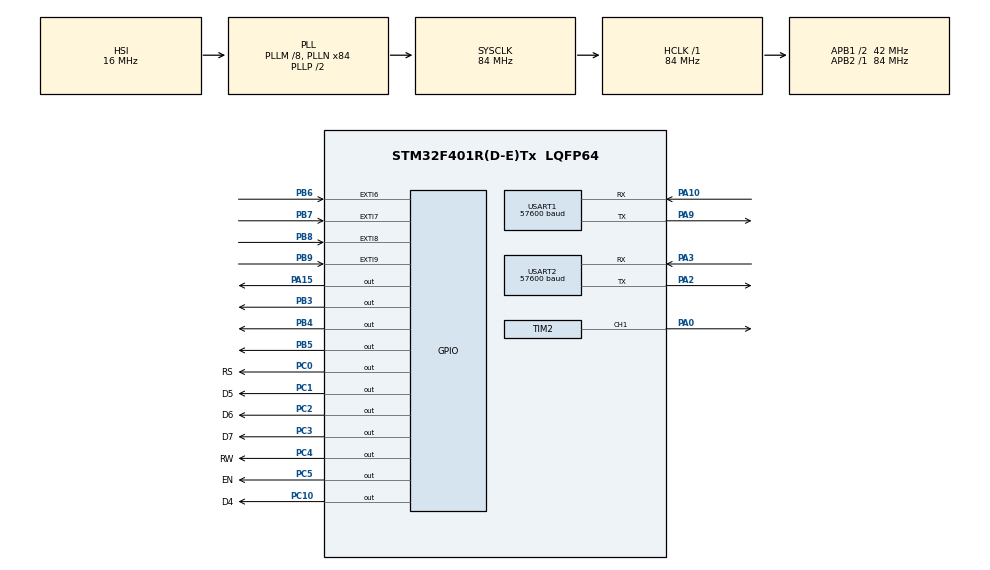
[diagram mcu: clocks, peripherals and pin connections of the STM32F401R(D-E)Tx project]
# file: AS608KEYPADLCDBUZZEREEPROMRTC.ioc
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Mcu.Family=STM32F4
Mcu.Name=STM32F401R(D-E)Tx
Mcu.Package=LQFP64
NVIC.PriorityGroup=NVIC_PRIORITYGROUP_4
PA0-WKUP.Signal=S_TIM2_CH1_ETR
PA10.Mode=Asynchronous
PA10.Signal=USART1_RX
PA15.Signal=GPIO_Output
PA2.Mode=Asynchronous
PA2.Signal=USART2_TX
PA3.Mode=Asynchronous
PA3.Signal=USART2_RX
PA9.Mode=Asynchronous
PA9.Signal=USART1_TX
PB3.Signal=GPIO_Output
PB4.Signal=GPIO_Output
PB5.Signal=GPIO_Output
PB6.Signal=GPXTI6
PB7.Signal=GPXTI7
PB8.Signal=GPXTI8
PB9.Signal=GPXTI9
PC0.GPIO_Label=RS
PC0.Signal=GPIO_Output
PC1.GPIO_Label=D5
PC1.Signal=GPIO_Output
PC10.GPIO_Label=D4
PC10.Signal=GPIO_Output
PC14-OSC32_IN.Mode=LSE-External-Oscillator
PC14-OSC32_IN.Signal=RCC_OSC32_IN
PC15-OSC32_OUT.Mode=LSE-External-Oscillator
PC15-OSC32_OUT.Signal=RCC_OSC32_OUT
PC2.GPIO_Label=D6
PC2.Signal=GPIO_Output
PC3.GPIO_Label=D7
PC3.Signal=GPIO_Output
PC4.GPIO_Label=RW
PC4.Signal=GPIO_Output
PC5.GPIO_Label=EN
PC5.Signal=GPIO_Output
PH0\ -\ OSC_IN.Mode=HSE-External-Oscillator
PH0\ -\ OSC_IN.Signal=RCC_OSC_IN
PH1\ -\ OSC_OUT.Mode=HSE-External-Oscillator
PH1\ -\ OSC_OUT.Signal=RCC_OSC_OUT
ProjectManager.HeapSize=0x200
ProjectManager.StackSize=0x400
ProjectManager.TargetToolchain=STM32CubeIDE
RCC.48MHZClocksFreq_Value=42000000
RCC.AHBFreq_Value=84000000
RCC.APB1CLKDivider=RCC_HCLK_DIV2
RCC.APB1Freq_Value=42000000
RCC.APB1TimFreq_Value=84000000
RCC.APB2Freq_Value=84000000
RCC.APB2TimFreq_Value=84000000
RCC.CortexFreq_Value=84000000
RCC.HCLKFreq_Value=84000000
RCC.HSE_VALUE=25000000
RCC.HSI_VALUE=16000000
RCC.PLLM=8
RCC.PLLN=84
RCC.SYSCLKFreq_VALUE=84000000
RCC.SYSCLKSource=RCC_SYSCLKSOURCE_PLLCLK
RCC.VCOOutputFreq_Value=168000000
RTC.Date=12
RTC.Hours=12
RTC.Minutes=50
RTC.Month=RTC_MONTH_SEPTEMBER
RTC.Seconds=45
RTC.WeekDay=RTC_WEEKDAY_TUESDAY
RTC.Year=23
SH.S_TIM2_CH1_ETR.0=TIM2_CH1,PWM Generation1 CH1
TIM2.Channel-PWM\ Generation1\ CH1=TIM_CHANNEL_1
USART1.BaudRate=57600
USART1.VirtualMode=VM_ASYNC
USART2.BaudRate=57600
USART2.VirtualMode=VM_ASYNC
VP_RTC_VS_RTC_Activate.Mode=RTC_Enabled
VP_RTC_VS_RTC_Calendar.Mode=RTC_Calendar
VP_TIM2_VS_ClockSourceINT.Mode=Internal
VP_TIM3_VS_ClockSourceINT.Mode=Internal
board=custom

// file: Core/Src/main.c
/* USER CODE BEGIN Header */
/**
 ******************************************************************************
 * @file           : main.c
 * @brief          : Main program body
 ******************************************************************************
 * @attention
 *
 * Copyright (c) 2023 STMicroelectronics.
 * All rights reserved.
 *
 * This software is licensed under terms that can be found in the LICENSE file
 * in the root directory of this software component.
 * If no LICENSE file comes with this software, it is provided AS-IS.
 *
 ******************************************************************************
 */
/* USER CODE END Header */
#include "main.h"

/* USER CODE BEGIN Includes */
#include"as608.h"
#include<stdbool.h>
#include"string.h"
#include"stdio.h"
#include "retarget.h"
#include<stdlib.h>
#include "lcd1602.h"
#include "stm32f4xx_hal.h"
#include "stm32f4xx_it.h"
#include <stdio.h>
#include "delay.h"
#include "uart.h"
#include "eeprom.h"
#include "stm32f4xx.h"
#include <stdint.h>

#define RXBUFFER_SIZE	50
#define MAX_PEOPLE 256
#define MAX_NAME_LENGTH 256
#define MAX_NUM_TEMPLATES 254
#define timer htim3
#define MAX_RETRIES 3 // Maximum number of retries
#define FLASH_SECTOR_TO_ERASE FLASH_SECTOR_4
#define TIME_DELAY_BETWEEN_ARRIVALS_MS 60000
#define EEP_ADDR 0x08010000
#define EEP_SIZE 0x0400

extern TIM_HandleTypeDef timer;
void delay (uint16_t us)
{
	__HAL_TIM_SET_COUNTER(&timer, 0);
	while (__HAL_TIM_GET_COUNTER(&timer) < us);
}

extern uint8_t Tone_Status;
/* USER CODE END Includes */

/* USER CODE BEGIN PD */
//int stored_fingerprint[5][100];
//int fingerprint_data;
uint16_t id=0 ;
uint32_t KeyPressed = 1;
uint8_t eepadd=0;

bool removeFingerPlaceFinger = false;
bool fingerprintStored = false;
uint8_t fingerprintStatus = FINGERPRINT_NOFINGER;
bool fingerprintOk = false;
bool fingerprintDeleted = false;
/* USER CODE END PD */

/* USER CODE BEGIN PM */
uint32_t temp=0;
typedef struct
{
	uint8_t emp_id;
} Emp_info;

Emp_info employee[10000];
char enrollment_names[][20]={{},{"VISHVESH"},{"Indu"},{"BINDHU"},{"SHUSHMA"},{"DHANA"},{" NARESH"},{"RAVI"},{"RAJESH"},{"SNEHA"},{"LINA"},{"VINAY"},{"NAVEEN"},{"PRADY"},{"NARESH.S"},{"JYOTHI"}};
char ids[3]; 					// Create an array to store 3 characters

EEPROMTypedefStatus eeprom_write(uint16_t add, uint32_t pData);
EEPROMTypedefStatus eeprom_read(uint16_t add, uint32_t *pData);
void set_time(void);
void get_time(void);
void display_time(void);
/* USER CODE END PM */

RTC_HandleTypeDef hrtc;
RTC_TimeTypeDef sTime;
RTC_DateTypeDef sDate;
RTC_TimeTypeDef gTime;
RTC_TimeTypeDef arrivalTime;
RTC_DateTypeDef arrivalDate;

TIM_HandleTypeDef htim2;
TIM_HandleTypeDef htim3;

UART_HandleTypeDef huart1;
UART_HandleTypeDef huart2;

/* USER CODE BEGIN PV */
GPIO_InitTypeDef GPIO_InitStructPrivate = {0};
uint32_t previousMillis = 0;
uint32_t currentMillis = 0;
uint8_t keyPressed = 0;

char C_time[12];
char date[20];
/* USER CODE END PV */

void SystemClock_Config(void);
static void MX_GPIO_Init(void);
static void MX_RTC_Init(void);
static void MX_TIM2_Init(void);
static void MX_TIM3_Init(void);
static void MX_USART1_UART_Init(void);
static void MX_USART2_UART_Init(void);
void eraseFlashSector(uint32_t sector);

/* USER CODE BEGIN 0 */
int row=0;
int col=0;
typedef struct
{
	uint16_t start_code;                    //< "Wakeup" code for packet detection
	uint8_t address[4];                    //< 32-bit Fingerprint sensor address
	uint8_t type;                         //< Type of packet
	uint16_t length;                     //< Length of packet
	uint8_t data[64];                   //< The raw buffer for packet payload
}as608Packet_t;

static as608Packet_t packet;
static uint8_t rxPacketBuffer[RXBUFFER_SIZE];
uint8_t FindFingerprint(void);
void EnrollFinger(uint8_t id);
uint8_t AS608_TEMPLATECOUNT(void);
uint8_t AS608_StoreModel(uint16_t id);
void InputFinger(void);
void DeleteFinger(void);
uint8_t MatchFinger(void);
void playTone(uint16_t frequency,uint16_t ms,uint8_t dc);
void stopTone(void);

uint16_t matchingPageID;
uint16_t f_status;
uint8_t Rxbuff = 0;
uint8_t RxbuffCntr = 0;
uint8_t txCplt = SET;
uint8_t RxCplt = 0;
uint8_t keypressed =  0;

extern uint16_t i;
extern uint16_t e_size;
void set_time(void)
{
	/** Initialize RTC and set the Time and Date
	 */
	sTime.Hours = 0x2;
	sTime.Minutes = 0x3;
	sTime.Seconds = 0x4;
	sTime.DayLightSaving = RTC_DAYLIGHTSAVING_NONE;
	sTime.StoreOperation = RTC_STOREOPERATION_RESET;
	if (HAL_RTC_SetTime(&hrtc, &sTime, RTC_FORMAT_BCD) != HAL_OK)
	{
		Error_Handler();
	}
	sDate.WeekDay = RTC_WEEKDAY_FRIDAY;
	sDate.Month = RTC_MONTH_MAY;
	sDate.Date = 0x6;
	sDate.Year = 0x23;

	if (HAL_RTC_SetDate(&hrtc, &sDate, RTC_FORMAT_BCD) != HAL_OK)
	{
		Error_Handler();
	}
	HAL_RTCEx_BKUPWrite(&hrtc, RTC_BKP_DR1, 0x32F2);
}

void get_time(void)
{
	RTC_DateTypeDef gDate;
	HAL_RTC_GetTime(&hrtc, &gTime, RTC_FORMAT_BIN);
	HAL_RTC_GetDate(&hrtc, &gDate, RTC_FORMAT_BIN);
	sprintf((char *)C_time, "%02d:%02d:%02d\n", gTime.Hours, gTime.Minutes, gTime.Seconds);
	sprintf((char *)date, "%02d-%02d-%2d\n", gDate.Date, gDate.Month, 2000 + gDate.Year);

	// Copy the current time to the arrivalTime variable

	arrivalTime.Hours = gTime.Hours;
	arrivalTime.Minutes = gTime.Minutes;
	arrivalTime.Seconds= gTime.Seconds;
	arrivalDate.Date=gDate.Date;
	arrivalDate.Month=gDate.Month;
	arrivalDate.Year=gDate.Year;
}

void display_time (void)
{
	HAL_UART_Transmit(&huart2, (uint8_t*)(C_time) ,12 , 100);
	HAL_UART_Transmit(&huart2, (uint8_t*)date , 20 , 100);
}
/* USER CODE END 0 */

int main(void)
{

	/* MCU Configuration--------------------------------------------------------*/

	/* Reset of all peripherals, Initializes the Flash interface and the Systick. */

	HAL_Init();

	/* Configure the system clock */
	SystemClock_Config();

	/* Initialize all configured peripherals */
	MX_GPIO_Init();
	MX_RTC_Init();
	MX_TIM2_Init();
	MX_TIM3_Init();
	MX_USART1_UART_Init();
	MX_USART2_UART_Init();
	/* USER CODE BEGIN 2 */
	HAL_TIM_Base_Start(&htim3);
	lcd_init ();
	lcd_clear();
	RetargetInit(&huart2);
	HAL_UART_Receive_IT(&huart1, (uint8_t *)&Rxbuff, sizeof(Rxbuff));
	HAL_UART_Receive_IT(&huart2, (uint8_t *)&Rxbuff, sizeof(Rxbuff));
	HAL_GPIO_WritePin(GPIOA, GPIO_PIN_15, 1);
	HAL_GPIO_WritePin(GPIOB, GPIO_PIN_3, 1);
	HAL_GPIO_WritePin(GPIOB, GPIO_PIN_4, 1);
	HAL_GPIO_WritePin(GPIOB, GPIO_PIN_5, 1);

	set_time();
	eeprom_init(EEP_ADDR,EEP_SIZE);

	get_time();
	display_time();

	/* USER CODE END 2 */
	//     eraseFlashSector(FLASH_SECTOR_TO_ERASE);  //erases a specified Flash memory sector.
	/* Infinite loop */
	/* USER CODE BEGIN WHILE */
	printf("\nchoose\nA.Enroll\nB.Find\nC.Delete\nD.DeleteAll\n");
	/* USER CODE END WHILE */

	/* USER CODE BEGIN 3 */
	lcd_init ();
	lcd_clear();
	HAL_Delay(1500);
	lcd_put_cur(0,0);
	/* USER CODE END 3 */
	while (1)
	{

		lcd_send_string("AenBfndCdelDdela");										//print the function
		lcd_send_cmd(0x02);															//to place the cursor at starting
		HAL_Delay(1500);
		if(keyPressed == 65 )
		{
			keyPressed = 0;
			MatchFinger();
		}
		else if(keyPressed == 66)
		{
			keyPressed = 0;
			unsigned int employee_ID =	FindFingerprint();

			get_time();                                    // Get the current time and date using the RTC peripheral and store it in arrivalTime and arrivalDate variables.
			eeprom_write(eepadd, employee_ID);
			//eeprom_write(eepadd, employee->emp_id); // Write the employee ID to EEPROM at the address pointed by eepadd.
			eeprom_write(eepadd+1, arrivalTime.Hours);     // Write the hours of arrivalTime to EEPROM at the next address.
			eeprom_write(eepadd+2, arrivalTime.Minutes);   // Write the minutes of arrivalTime to EEPROM at the next address.
			eeprom_write(eepadd+3, arrivalTime.Seconds);   // Write the seconds of arrivalTime to EEPROM at the next address.
			eeprom_write(eepadd+4, arrivalDate.Date);      // Write the date of arrivalDate to EEPROM at the next address.
			eeprom_write(eepadd+5, arrivalDate.Month);     // Write the month of arrivalDate to EEPROM at the next address.
			eeprom_write(eepadd+6, arrivalDate.Year);      // Write the year of arrivalDate to EEPROM at the next address.
			eepadd+=7;                                     // Move the EEPROM address pointer to the next set of memory locations for the next employee.
			KeyPressed=0;                                  // Reset the KeyPressed flag to indicate that the key press has been processed.
		}
		else if(keyPressed == 67 )
		{
			keyPressed = 0;
			DeleteFinger();
		}
		else if (keyPressed == 68){
			keyPressed = 0;
			AS608_EmptyDatabase();
			lcd_send_string("Allfingerdeleted");
			printf("ALL DELETED");
			playTone(800,1000,20);
			stopTone();
		}

	}
}

void SystemClock_Config(void)
{
	RCC_OscInitTypeDef RCC_OscInitStruct = {0};
	RCC_ClkInitTypeDef RCC_ClkInitStruct = {0};

	/** Configure the main internal regulator output voltage
	 */
	__HAL_RCC_PWR_CLK_ENABLE();
	__HAL_PWR_VOLTAGESCALING_CONFIG(PWR_REGULATOR_VOLTAGE_SCALE2);

	/** Initializes the RCC Oscillators according to the specified parameters
	 * in the RCC_OscInitTypeDef structure.
	 */
	RCC_OscInitStruct.OscillatorType = RCC_OSCILLATORTYPE_HSI|RCC_OSCILLATORTYPE_LSI;
	RCC_OscInitStruct.HSIState = RCC_HSI_ON;
	RCC_OscInitStruct.HSICalibrationValue = RCC_HSICALIBRATION_DEFAULT;
	RCC_OscInitStruct.LSIState = RCC_LSI_ON;
	RCC_OscInitStruct.PLL.PLLState = RCC_PLL_ON;
	RCC_OscInitStruct.PLL.PLLSource = RCC_PLLSOURCE_HSI;
	RCC_OscInitStruct.PLL.PLLM = 8;
	RCC_OscInitStruct.PLL.PLLN = 84;
	RCC_OscInitStruct.PLL.PLLP = RCC_PLLP_DIV2;
	RCC_OscInitStruct.PLL.PLLQ = 4;
	if (HAL_RCC_OscConfig(&RCC_OscInitStruct) != HAL_OK)
	{
		Error_Handler();
	}

	/** Initializes the CPU, AHB and APB buses clocks
	 */
	RCC_ClkInitStruct.ClockType = RCC_CLOCKTYPE_HCLK|RCC_CLOCKTYPE_SYSCLK
			|RCC_CLOCKTYPE_PCLK1|RCC_CLOCKTYPE_PCLK2;
	RCC_ClkInitStruct.SYSCLKSource = RCC_SYSCLKSOURCE_PLLCLK;
	RCC_ClkInitStruct.AHBCLKDivider = RCC_SYSCLK_DIV1;
	RCC_ClkInitStruct.APB1CLKDivider = RCC_HCLK_DIV2;
	RCC_ClkInitStruct.APB2CLKDivider = RCC_HCLK_DIV1;

	if (HAL_RCC_ClockConfig(&RCC_ClkInitStruct, FLASH_LATENCY_2) != HAL_OK)
	{
		Error_Handler();
	}
}

static void MX_RTC_Init(void)
{

	RTC_TimeTypeDef sTime = {0};
	RTC_DateTypeDef sDate = {0};

	/** Initialize RTC Only
	 */
	hrtc.Instance = RTC;
	hrtc.Init.HourFormat = RTC_HOURFORMAT_24;
	hrtc.Init.AsynchPrediv = 127;
	hrtc.Init.SynchPrediv = 255;
	hrtc.Init.OutPut = RTC_OUTPUT_DISABLE;
	hrtc.Init.OutPutPolarity = RTC_OUTPUT_POLARITY_HIGH;
	hrtc.Init.OutPutType = RTC_OUTPUT_TYPE_OPENDRAIN;
	if (HAL_RTC_Init(&hrtc) != HAL_OK)
	{
		Error_Handler();
	}

	/** Initialize RTC and set the Time and Date
	 */
	sTime.Hours = 0x12;
	sTime.Minutes = 0x50;
	sTime.Seconds = 0x45;
	sTime.DayLightSaving = RTC_DAYLIGHTSAVING_NONE;
	sTime.StoreOperation = RTC_STOREOPERATION_RESET;
	if (HAL_RTC_SetTime(&hrtc, &sTime, RTC_FORMAT_BCD) != HAL_OK)
	{
		Error_Handler();
	}
	sDate.WeekDay = RTC_WEEKDAY_TUESDAY;
	sDate.Month = RTC_MONTH_SEPTEMBER;
	sDate.Date = 0x12;
	sDate.Year = 0x23;

	if (HAL_RTC_SetDate(&hrtc, &sDate, RTC_FORMAT_BCD) != HAL_OK)
	{
		Error_Handler();
	}

}

static void MX_TIM2_Init(void)
{

	TIM_ClockConfigTypeDef sClockSourceConfig = {0};
	TIM_MasterConfigTypeDef sMasterConfig = {0};
	TIM_OC_InitTypeDef sConfigOC = {0};

	htim2.Instance = TIM2;
	htim2.Init.Prescaler = 0;
	htim2.Init.CounterMode = TIM_COUNTERMODE_UP;
	htim2.Init.Period = 4294967295;
	htim2.Init.ClockDivision = TIM_CLOCKDIVISION_DIV1;
	htim2.Init.AutoReloadPreload = TIM_AUTORELOAD_PRELOAD_DISABLE;
	if (HAL_TIM_Base_Init(&htim2) != HAL_OK)
	{
		Error_Handler();
	}
	sClockSourceConfig.ClockSource = TIM_CLOCKSOURCE_INTERNAL;
	if (HAL_TIM_ConfigClockSource(&htim2, &sClockSourceConfig) != HAL_OK)
	{
		Error_Handler();
	}
	if (HAL_TIM_PWM_Init(&htim2) != HAL_OK)
	{
		Error_Handler();
	}
	sMasterConfig.MasterOutputTrigger = TIM_TRGO_RESET;
	sMasterConfig.MasterSlaveMode = TIM_MASTERSLAVEMODE_DISABLE;
	if (HAL_TIMEx_MasterConfigSynchronization(&htim2, &sMasterConfig) != HAL_OK)
	{
		Error_Handler();
	}
	sConfigOC.OCMode = TIM_OCMODE_PWM1;
	sConfigOC.Pulse = 0;
	sConfigOC.OCPolarity = TIM_OCPOLARITY_HIGH;
	sConfigOC.OCFastMode = TIM_OCFAST_DISABLE;
	if (HAL_TIM_PWM_ConfigChannel(&htim2, &sConfigOC, TIM_CHANNEL_1) != HAL_OK)
	{
		Error_Handler();
	}
	HAL_TIM_MspPostInit(&htim2);

}

static void MX_TIM3_Init(void)
{

	TIM_ClockConfigTypeDef sClockSourceConfig = {0};
	TIM_MasterConfigTypeDef sMasterConfig = {0};

	htim3.Instance = TIM3;
	htim3.Init.Prescaler = 72-1;
	htim3.Init.CounterMode = TIM_COUNTERMODE_UP;
	htim3.Init.Period = 0xffff-1;
	htim3.Init.ClockDivision = TIM_CLOCKDIVISION_DIV1;
	htim3.Init.RepetitionCounter = 0;
	htim3.Init.AutoReloadPreload = TIM_AUTORELOAD_PRELOAD_DISABLE;
	if (HAL_TIM_Base_Init(&htim3) != HAL_OK)
	{
		Error_Handler();
	}
	sClockSourceConfig.ClockSource = TIM_CLOCKSOURCE_INTERNAL;
	if (HAL_TIM_ConfigClockSource(&htim3, &sClockSourceConfig) != HAL_OK)
	{
		Error_Handler();
	}
	sMasterConfig.MasterOutputTrigger = TIM_TRGO_RESET;
	sMasterConfig.MasterSlaveMode = TIM_MASTERSLAVEMODE_DISABLE;
	if (HAL_TIMEx_MasterConfigSynchronization(&htim3, &sMasterConfig) != HAL_OK)
	{
		Error_Handler();
	}

}

static void MX_USART1_UART_Init(void)
{

	huart1.Instance = USART1;
	huart1.Init.BaudRate = 57600;
	huart1.Init.WordLength = UART_WORDLENGTH_8B;
	huart1.Init.StopBits = UART_STOPBITS_1;
	huart1.Init.Parity = UART_PARITY_NONE;
	huart1.Init.Mode = UART_MODE_TX_RX;
	huart1.Init.HwFlowCtl = UART_HWCONTROL_NONE;
	huart1.Init.OverSampling = UART_OVERSAMPLING_16;
	if (HAL_UART_Init(&huart1) != HAL_OK)
	{
		Error_Handler();
	}

}

static void MX_USART2_UART_Init(void)
{

	huart2.Instance = USART2;
	huart2.Init.BaudRate = 57600;
	huart2.Init.WordLength = UART_WORDLENGTH_8B;
	huart2.Init.StopBits = UART_STOPBITS_1;
	huart2.Init.Parity = UART_PARITY_NONE;
	huart2.Init.Mode = UART_MODE_TX_RX;
	huart2.Init.HwFlowCtl = UART_HWCONTROL_NONE;
	huart2.Init.OverSampling = UART_OVERSAMPLING_16;
	if (HAL_UART_Init(&huart2) != HAL_OK)
	{
		Error_Handler();
	}

}

static void MX_GPIO_Init(void)
{
	GPIO_InitTypeDef GPIO_InitStruct = {0};

	/* GPIO Ports Clock Enable */
	__HAL_RCC_GPIOC_CLK_ENABLE();
	__HAL_RCC_GPIOH_CLK_ENABLE();
	__HAL_RCC_GPIOA_CLK_ENABLE();
	__HAL_RCC_GPIOB_CLK_ENABLE();

	/*Configure GPIO pin Output Level */
	HAL_GPIO_WritePin(GPIOC, RS_Pin|D5_Pin|D6_Pin|D7_Pin
			|RW_Pin|EN_Pin|D4_Pin, GPIO_PIN_RESET);

	/*Configure GPIO pin Output Level */
	HAL_GPIO_WritePin(GPIOA, GPIO_PIN_15, GPIO_PIN_RESET);

	/*Configure GPIO pin Output Level */
	HAL_GPIO_WritePin(GPIOB, GPIO_PIN_3|GPIO_PIN_4|GPIO_PIN_5, GPIO_PIN_RESET);

	/*Configure GPIO pins : RS_Pin D5_Pin D6_Pin D7_Pin
                           RW_Pin EN_Pin D4_Pin */
	GPIO_InitStruct.Pin = RS_Pin|D5_Pin|D6_Pin|D7_Pin
			|RW_Pin|EN_Pin|D4_Pin;
	GPIO_InitStruct.Mode = GPIO_MODE_OUTPUT_PP;
	GPIO_InitStruct.Pull = GPIO_NOPULL;
	GPIO_InitStruct.Speed = GPIO_SPEED_FREQ_LOW;
	HAL_GPIO_Init(GPIOC, &GPIO_InitStruct);

	/*Configure GPIO pin : PA15 */
	GPIO_InitStruct.Pin = GPIO_PIN_15;
	GPIO_InitStruct.Mode = GPIO_MODE_OUTPUT_PP;
	GPIO_InitStruct.Pull = GPIO_NOPULL;
	GPIO_InitStruct.Speed = GPIO_SPEED_FREQ_LOW;
	HAL_GPIO_Init(GPIOA, &GPIO_InitStruct);

	/*Configure GPIO pins : PB3 PB4 PB5 */
	GPIO_InitStruct.Pin = GPIO_PIN_3|GPIO_PIN_4|GPIO_PIN_5;
	GPIO_InitStruct.Mode = GPIO_MODE_OUTPUT_PP;
	GPIO_InitStruct.Pull = GPIO_NOPULL;
	GPIO_InitStruct.Speed = GPIO_SPEED_FREQ_LOW;
	HAL_GPIO_Init(GPIOB, &GPIO_InitStruct);

	/*Configure GPIO pins : PB6 PB7 PB8 PB9 */
	GPIO_InitStruct.Pin = GPIO_PIN_6|GPIO_PIN_7|GPIO_PIN_8|GPIO_PIN_9;
	GPIO_InitStruct.Mode = GPIO_MODE_IT_RISING;
	GPIO_InitStruct.Pull = GPIO_NOPULL;
	HAL_GPIO_Init(GPIOB, &GPIO_InitStruct);

	/* EXTI interrupt init*/
	HAL_NVIC_SetPriority(EXTI9_5_IRQn, 0, 0);
	HAL_NVIC_EnableIRQ(EXTI9_5_IRQn);

	/* USER CODE BEGIN MX_GPIO_Init_2 */
	HAL_NVIC_SetPriority(EXTI0_IRQn, 0, 0);
	HAL_NVIC_EnableIRQ(EXTI0_IRQn);

	HAL_NVIC_SetPriority(EXTI1_IRQn, 0, 0);
	HAL_NVIC_EnableIRQ(EXTI1_IRQn);

	HAL_NVIC_SetPriority(EXTI2_IRQn, 0, 0);
	HAL_NVIC_EnableIRQ(EXTI2_IRQn);

	HAL_NVIC_SetPriority(EXTI3_IRQn, 0, 0);
	HAL_NVIC_EnableIRQ(EXTI3_IRQn);

	HAL_NVIC_SetPriority(EXTI4_IRQn, 0, 0);
	HAL_NVIC_EnableIRQ(EXTI4_IRQn);

	HAL_NVIC_SetPriority(EXTI9_5_IRQn, 0, 0);
	HAL_NVIC_EnableIRQ(EXTI9_5_IRQn);
	/* USER CODE END MX_GPIO_Init_2 */
}

/* USER CODE BEGIN 4 */
uint8_t FindFingerprint(void)
{
	HAL_Delay(1000);																						 // Delay for 1 second
	uint8_t f_status = AS608_GetImage(); 																	 // Attempt to capture a fingerprint image
	if (f_status != FINGERPRINT_OK) {
		printf("error in the getimage");																	 // Print an error message to the console
		lcd_send_string("errorinfinger");                                                                    // Send an error message to the LCD
		HAL_Delay(1000);                                                                                     // Delay for 1 second
		lcd_clear();                                                                                         // Clear the LCD display
		return f_status;                                                                                     // Return the status code
	}
	HAL_Delay(1000);                                                                                         // Delay for 1 second
	f_status = AS608_Image2Tz(1);                                                                            // Convert the captured image to a template
	if (f_status != FINGERPRINT_OK) {
		printf("convert fail");                                                                              // Print an error message to the console
		lcd_send_string("convertinfinger");                                                                  // Send an error message to the LCD
		HAL_Delay(1000);                                                                                     // Delay for 1 second
		lcd_clear();                                                                                         // Clear the LCD display
		return f_status;                                                                                     // Return the status code
	}
	HAL_Delay(1000);                                                                                         // Delay for 1 second

	int pointer[3];                                                                                          // Create an array to store 2 integers
	char idString[4];                                                                                    // Create a character array to hold the string representation of the ID

	f_status = AS608_FingerFastSearch(pointer);                                                          // Search for a matching fingerprint

	id = pointer[0];                                                                                     // Assign the ID to the variable 'id'
	sprintf(idString, "%d", id);                                                                         // Convert the integer to a string

	if (f_status == FINGERPRINT_OK) {
		HAL_Delay(100);                                                                                  // Delay for 0.1 second
		printf("Fingerprint found with id = %d %s\n", pointer[0],enrollment_names[pointer[0]]);          // Print the ID of the found fingerprint to the console

		uint16_t employee_ID=pointer[0];

//		lcd_clear();                                                                                     // Clear the LCD display
//		HAL_Delay(2500);                                                                                 // Delay for 1.5 seconds
//		lcd_send_string("Finger Found\n");                                                               // Send a message to the LCD
		lcd_clear();
		HAL_Delay(1500);
		lcd_send_string("FOUND:");
		lcd_send_string(idString);                                                                       // Send the ID string to the LCD
		lcd_send_string(enrollment_names[id]);
		playTone(500,1000,20);
		stopTone();
		HAL_Delay(1500);                                                                                 // Delay for 1.5 seconds
		lcd_clear();                                                                                     // Clear the LCD display
		return employee_ID;                                                                              // Return the status code
	} else {
		printf("Fingerprint not found\n");                                                              // Print a message indicating the fingerprint was not found

		lcd_send_string("finger not found");                                                            // Send a message to the LCD
		lcd_send_string(idString);                                                                      // Send the ID string to the LCD
		playTone(500,1000,20);
		stopTone();
		HAL_Delay(2000);                                                                                // Delay for 2 seconds to display the message
		lcd_clear();                                                                                    // Clear the LCD display
	}

	return f_status;                                                                                    // Return the status code
}

void DeleteFinger(void)
{
//	HAL_Delay(500);                                                                                     // Delay for 1 second
	char ids[3];                                                                                        // Create an array to store 2 characters
	uint8_t i = 0;                                                                                      // Initialize a counter variable
	// Loop to get 2 key presses
	while (i < 2)
	{
		HAL_Delay(1000);                                                                                // Delay for 1 seconds
		printf("Enter the key\n");                                                                     // Prompt the user to press keys
		HAL_Delay(1000);
		lcd_send_string("Enter  your keys");
		HAL_Delay(1000);                                                                                // Delay for 1 seconds
		lcd_clear();
		ids[i] = keyPressed;                                                                            // Store the key press in 'ids' array
		i++;                                                                                            // Increment the counter
		HAL_Delay(1000);                                                                                // Delay for 1 seconds
	}

	ids[2] = '\0';                                                                                      // Add a null-terminator to the end of the 'ids' string

	id = atoi(ids);                                                                                     // Convert the two-character string 'ids' to an integer 'id'
	HAL_Delay(1500);
	lcd_clear();
	// Call a function to delete the fingerprint model associated with 'id'
	if(id>0&&id<100){
		AS608_DeleteModel(id);
		printf("Finger is deleted with id = %d %s\n", id,enrollment_names[id]); 						// Print a message indicating successful deletion
		HAL_Delay(1500);
		lcd_clear();
		lcd_send_string("DELID="); 																	// Send a message "DElFINGER=" to the LCD
		lcd_send_string(ids); 																			// Send the string 'ids' to the LCD
		lcd_send_string(enrollment_names[id]);
		playTone(500,1000,20);
		stopTone();
		HAL_Delay(1500);																				// Delay for 1.5 seconds (1500 milliseconds)
		lcd_clear(); 																					// Clear the LCD display
		keypressed = 0;																					// Reset a variable 'keypressed' to 0
	}else
	{
		printf("\nInvalid id. Please enter an id between 1 and 100.");
		lcd_send_string("Invalid id");
		HAL_Delay(1000); 																				// Delay for 1 seconds
		lcd_clear();
	}
}

void InputFinger(void)
{
	HAL_Delay(1000); 																// Delay for 1 second
	printf("press the first key\n");												// Prompt the user to press the first key
	lcd_send_string("pressthefirstkey\n");
	HAL_Delay(2000); 																// Delay for 2 seconds
	lcd_clear();
	ids[0] = keyPressed; 															// Store the key press in the first position of 'ids'
	printf("press the second key\n"); 												// Prompt the user to press the second key
	lcd_send_string("press2ndkey");
	HAL_Delay(2000); 																// Delay for 2 seconds
	lcd_clear();
	ids[1] = keyPressed; 															// Store the key press in the second position of 'ids'
	HAL_Delay(1000); 																// Delay for 1 second
	id = atoi(ids); 																// Convert the two-character string 'ids' to an integer 'id'
	if (id >0 && id <= 99) {
		EnrollFinger(id); 															// Call a function (EnrollFinger) with the 'id' as a parameter
	} else {
		printf("\nInvalid id. Please enter an id between 1 and 100.");
		lcd_send_string("Invalid id");
		HAL_Delay(1000); 															// Delay for 1 seconds
		lcd_clear();
	}
	keypressed = 0; 																// Reset a variable 'keypressed' to 0
}

uint8_t MatchFinger(void)
{
	HAL_Delay(1000);																 // Delay for 1 second
	uint8_t f_status = AS608_GetImage(); 											 // Attempt to capture a fingerprint image
	if (f_status != FINGERPRINT_OK) {
		printf("error in the getimage");					     					  // Print an error message to the console
		lcd_send_string("errorinfinger"); 											  // Send an error message to the LCD
		HAL_Delay(1000);															  // Delay for 1 second
		lcd_clear(); 																  // Clear the LCD display
		return f_status; 															  // Return the status code
	}
	HAL_Delay(1000); 																  // Delay for 1 second
	f_status = AS608_Image2Tz(1);                                                     // Convert the captured image to a template
	if (f_status != FINGERPRINT_OK) {
		printf("convert fail");  			    	        	 			 	      // Print an error message to the console
		lcd_send_string("convertinfinger");  			   	       	      	      	  // Send an error message to the LCD
		HAL_Delay(1000);		 			   	      	      	     	   		 	  // Delay for 1 second
		lcd_clear(); 	 				     	          	       	      	  	   	  // Clear the LCD display
		return f_status;	 										 	 	 		  // Return the status code
	}
	HAL_Delay(1000);  			   	      	      	                        	 	  // Delay for 1 second

	int pointer[3]; 		 			     	      	       	                      // Create an array to store 2 integers
	char idString[4];  	      	  	 	 	 	 		 	 	  		 	 	 	  // Create a character array to hold the string representation of the ID

	f_status = AS608_FingerFastSearch(pointer);                                       // Search for a matching fingerprint

	id = pointer[0]; 																  // Assign the ID to the variable 'id'
	sprintf(idString, "%d", id);	 			              	         	          // Convert the integer to a string

	if (f_status == FINGERPRINT_OK) {
		HAL_Delay(1000); 						 			     	       		 	// Delay for 1 second
		printf("Fingerprint already exist= %d %s\n", pointer[0],enrollment_names[pointer[0]]); // Print the ID of the found fingerprint to the console

		uint16_t employee_ID=pointer[0];

		lcd_clear(); 																	// Clear the LCD display
		HAL_Delay(2500); 																// Delay for 1.5 seconds
		lcd_send_string("Finger Found\n"); 												// Send a message to the LCD
		lcd_clear();
		HAL_Delay(1500);
		lcd_send_string("exist=");
		lcd_send_string(idString);														 // Send the ID string to the LCD
		lcd_send_string(enrollment_names[id]);
		playTone(500,1000,20);
		stopTone();
		HAL_Delay(1500); 																  // Delay for 1.5 seconds
		lcd_clear(); 																	  // Clear the LCD display
		return employee_ID;                                                               // Return the status code
	} else {
		InputFinger();
	}

	return f_status; 																	  // Return the status code
}

void EnrollFinger(uint8_t id) {

	printf("Place finger on the sensor\n");													// Step 1: Prompt the user to place their finger on the sensor
	lcd_send_string("Place finger");
	HAL_Delay(1000);																		// Delay for 1 seconds
	lcd_clear();
	while (AS608_GetImage() != FINGERPRINT_OK) { HAL_Delay(1000);break;}		   	  		// Step 2: Capture an image of the fingerprint
	// Step 3: Convert the captured image to a template
	while (AS608_Image2Tz(1) != FINGERPRINT_OK) {HAL_Delay(1000);break; }
	// Step 4: Prompt the user to remove and re-place the same finger
	printf("Remove finger and place the same finger again\n");
//	lcd_send_string("Remove and place");
	HAL_Delay(1000);																		 // Delay for 1 seconds
	lcd_clear();
	removeFingerPlaceFinger = true;
	// Step 5: Capture another image of the fingerprint
	while (AS608_GetImage() != FINGERPRINT_OK) { HAL_Delay(1000);break;}

	// Step 6: Convert the second captured image to a template
	while (AS608_Image2Tz(2) != FINGERPRINT_OK) {HAL_Delay(1000); break;}

	removeFingerPlaceFinger = false;

	// Step 7: Create a fingerprint model from the two templates
	if (AS608_CreateModel() == FINGERPRINT_OK) {
		// Step 8: Choose the appropriate buffer ID and page ID
		uint16_t pageID = id;
		char idString[10]; 																	// Create a character array to hold the string representation of the integer
		sprintf(idString, "%d", id); 														// Convert the integer to a string

		// Step 9: Store the fingerprint model in the specified buffer
		if (AS608_StoreModel( pageID) == FINGERPRINT_OK) {
			printf("Fingerprint enrolled for ID: %d ", id); 						 		 // Print a message indicating successful fingerprint enrollment along with the 'id'
			printf("%s\n",enrollment_names[id]);
			lcd_send_string("ID="); 														 // Send "ENROLL ID=" to the LCD
			lcd_send_string(idString);														 // Send the string representation of 'id' to the LCD
			lcd_send_string(enrollment_names[id]);
			playTone(800,1000,20);
			stopTone();
			HAL_Delay(1500);																 // Delay for 1.5 seconds
			lcd_clear();																	 // Clear the LCD display
		}
	}
	else {
		fingerprintStored = false;
		lcd_clear();
		lcd_send_string("fingernotenroled");
		playTone(800,100,20);
		stopTone();
	}
}

//Static functions
static void PacketInit(uint8_t type,uint16_t length,uint8_t* data)
{
	packet.start_code = FINGERPRINT_STARTCODE;
	packet.type = type;
	packet.length = length;
	for(uint8_t i = 0; i < 4; i++)
	{
		packet.address[i] = 0xFF;
	}
	if(length < 50)
	{
		memcpy(packet.data,data,length);

	}
	else
	{
		memcpy(packet.data,data,64);
	}
}

/**
	@brief Process a packet and send it over UART to the sensor
 */
static void WriteStructuredPacket(void)
{
	uint8_t leftshiftstartcode;
	uint8_t bitwiseand;
	uint8_t leftshiftwirelength;
	uint8_t bitwiseandwirelength;
	uint8_t leftshiftsum;
	uint8_t bitwiseandsum;
	leftshiftstartcode = packet.start_code >> 8;
	bitwiseand = packet.start_code & 0xFF;
	HAL_UART_Transmit(&huart1,(&leftshiftstartcode),1,HAL_MAX_DELAY);
	HAL_UART_Transmit(&huart1,(&bitwiseand),1,HAL_MAX_DELAY);
	HAL_UART_Transmit(&huart1,(&packet.address[0]),4,4);
	HAL_UART_Transmit(&huart1,(&packet.type),1,4);
	uint16_t wireLength = packet.length + 2;
	leftshiftwirelength = wireLength >> 8;
	bitwiseandwirelength = wireLength & 0xFF;
	HAL_UART_Transmit(&huart1,(&leftshiftwirelength),1,HAL_MAX_DELAY);
	HAL_UART_Transmit(&huart1,(&bitwiseandwirelength),1,HAL_MAX_DELAY);
	uint16_t sum = wireLength + packet.type;
	for (uint8_t i = 0; i < packet.length; i++)
	{
		HAL_UART_Transmit(&huart1,(&packet.data[i]),1,HAL_MAX_DELAY);
		sum += packet.data[i];
	}
	leftshiftsum = sum >> 8;
	bitwiseandsum = sum & 0xFF;
	HAL_UART_Transmit(&huart1,(&leftshiftsum),1,HAL_MAX_DELAY);
	HAL_UART_Transmit(&huart1,(&bitwiseandsum),1,HAL_MAX_DELAY);
}

/**
	@brief Receives data over UART from the sensor via DMA then processes
	the data into a packet/
	@return <code>FINGERPRINT_OK</code> on success
	@return <code>FINGERPRINT_TIMEOUT</code> or
					<code>FINGERPRINT_BADPACKET</code> on failure
 */
static uint8_t GetStructuredPacket(void)
{
	uint8_t nReceivedBytes = 0; 															// Initialize a variable to keep track of the number of received bytes

	while(1) 																				// Infinite loop
	{
		if(RxCplt == SET) 																	// If a reception is complete
		{
			RxCplt = RESET; 																// Reset the reception flag
			nReceivedBytes = RxbuffCntr; 													// Store the number of received bytes
			RxbuffCntr = 0; 																// Reset the reception buffer counter
			break; 																			// Exit the loop
		}
	}
	// Check if the received packet's start code matches the expected value
	if(rxPacketBuffer[0] == (FINGERPRINT_STARTCODE >> 8))
	{
		packet.start_code = (uint16_t)rxPacketBuffer[0] << 8;                               // Extract and set the start code
	}

	packet.start_code |= rxPacketBuffer[1];                                                 // Combine the start code with the second byte

	if(packet.start_code != FINGERPRINT_STARTCODE)                                          // Check if start code is valid
	{
		memset(rxPacketBuffer, 0, nReceivedBytes);                                          // Clear the rx packet buffer
		return FINGERPRINT_BADPACKET;                                                       // Return a status indicating a bad packet
	}
	// Extract address bytes
	for(uint8_t i = 2; i <= 5; i++)
	{
		packet.address[i - 2] = rxPacketBuffer[i];
	}

	packet.type = rxPacketBuffer[6]; 	 						 	 	 	 	 	 	 	// Extract packet type
	packet.length = (uint16_t)rxPacketBuffer[7] << 8;									    // Extract packet length (high byte)
	packet.length |= rxPacketBuffer[8]; 													// Extract packet length (low byte)

	// Extract data bytes
	for(uint8_t i = 9; i < nReceivedBytes; i++)
	{
		packet.data[i - 9] = rxPacketBuffer[i];

		// Check if all data bytes have been received
		if((i - 8) == packet.length)
		{
			memset(rxPacketBuffer, 0, nReceivedBytes); 										// Clear the rx packet buffer
			return FINGERPRINT_OK; 															// Return a status indicating a successful packet reception
		}
	}

	return FINGERPRINT_BADPACKET; 															// Return a status indicating an incomplete packet
}

//Variadic macros
/**
 * @brief Gets the command packet
 */
#define GET_CMD_PACKET(...)                                                    \
		do {                                                                          \
			uint8_t packet_data[] = {__VA_ARGS__};                                      \
			PacketInit(FINGERPRINT_COMMANDPACKET, sizeof(packet_data), packet_data);    \
			WriteStructuredPacket();                                                    \
			if (GetStructuredPacket() != FINGERPRINT_OK)                                \
			return FINGERPRINT_PACKETRECIEVEERR;                                      \
			if (packet.type != FINGERPRINT_ACKPACKET)                                   \
			return FINGERPRINT_PACKETRECIEVEERR;                                      \
		} while (0)

/**
 * @brief Sends the command packet
 */
#define SEND_CMD_PACKET(...)                                                   \
		GET_CMD_PACKET(__VA_ARGS__);                                                 \
		return packet.data[0];

/**
	@brief Ask the sensor to take an image of the finger pressed on surface
	@return <code>FINGERPRINT_OK</code> on success
	@return <code>FINGERPRINT_NOFINGER</code> if no finger detected
	@return <code>FINGERPRINT_PACKETRECIEVEERR</code> on communication error
	@return <code>FINGERPRINT_IMAGEFAIL</code> on imaging error
 */
uint8_t AS608_GetImage(void)
{
	SEND_CMD_PACKET(FINGERPRINT_GETIMAGE);
}

/**
	@brief Ask the sensor to convert image to feature template
	@param slot Location to place feature template (put one in 1 and another in
	2 for verification to create model)
	@return <code>FINGERPRINT_OK</code> on success
	@return <code>FINGERPRINT_IMAGEMESS</code> if image is too messy
	@return <code>FINGERPRINT_PACKETRECIEVEERR</code> on communication error
	@return <code>FINGERPRINT_FEATUREFAIL</code> on failure to identify
	fingerprint features
	@return <code>FINGERPRINT_INVALIDIMAGE</code> on failure to identify
	fingerprint features
 */
uint8_t AS608_Image2Tz(uint8_t slot)
{
	SEND_CMD_PACKET(FINGERPRINT_IMAGE2TZ,slot );
}

/**
	@brief Ask the sensor to take two print feature template and create a
	model
	@return <code>FINGERPRINT_OK</code> on success
	@return <code>FINGERPRINT_PACKETRECIEVEERR</code> on communication error
	@return <code>FINGERPRINT_ENROLLMISMATCH</code> on mismatch of fingerprints
 */
uint8_t AS608_CreateModel(void)
{
	SEND_CMD_PACKET(FINGERPRINT_REGMODEL);
}

/**
	@brief Ask the sensor to delete ALL models in memory
	@return <code>FINGERPRINT_OK</code> on success
	@return <code>FINGERPRINT_BADLOCATION</code> if the location is invalid
	@return <code>FINGERPRINT_FLASHERR</code> if the model couldn't be written
	to flash memory
	@return <code>FINGERPRINT_PACKETRECIEVEERR</code> on communication error
 */
uint8_t AS608_EmptyDatabase(void)
{
	SEND_CMD_PACKET(FINGERPRINT_EMPTY);
}

uint8_t AS608_TEMPLATECOUNT(void)
{
	GET_CMD_PACKET(FINGERPRINT_TEMPLATECOUNT,0x01,7,0x00);
	return packet.data[0];
}
/**
	@brief Ask the sensor to store the calculated model for later matching
	@param location The model location #
	@return <code>FINGERPRINT_OK</code> on success
	@return <code>FINGERPRINT_BADLOCATION</code> if the location is invalid
	@return <code>FINGERPRINT_FLASHERR</code> if the model couldn't be written
	to flash memory
	@return <code>FINGERPRINT_PACKETRECIEVEERR</code> on communication error
 */

uint8_t AS608_StoreModel(uint16_t id)
{
	SEND_CMD_PACKET(FINGERPRINT_STORE, 0x01, (uint8_t)(id >> 8), (uint8_t)(id & 0xFF));
}

/**
	@brief Ask the sensor to load a fingerprint model from flash into buffer 1
	@param location The model location
	@return <code>FINGERPRINT_OK</code> on success
	@return <code>FINGERPRINT_BADLOCATION</code> if the location is invalid
	@return <code>FINGERPRINT_PACKETRECIEVEERR</code> on communication error
 */
uint8_t AS608_LoadModel(uint16_t id)
{
	SEND_CMD_PACKET(FINGERPRINT_LOAD, 0x01, (uint8_t)(id >> 8), (uint8_t)(id & 0xFF));
}

/**
	@brief Ask the sensor to transfer 256-byte fingerprint template from the
	buffer to the UART
	@return <code>FINGERPRINT_OK</code> on success
	@return <code>FINGERPRINT_PACKETRECIEVEERR</code> on communication error
 */
uint8_t AS608_GetModel(void)
{
	SEND_CMD_PACKET(FINGERPRINT_UPLOAD, 0x01);
}

/**
	@brief Ask the sensor to delete a model in memory
	@param location The model location #
	@return <code>FINGERPRINT_OK</code> on success
	@return <code>FINGERPRINT_BADLOCATION</code> if the location is invalid
	@return <code>FINGERPRINT_FLASHERR</code> if the model couldn't be written
	to flash memory
	@return <code>FINGERPRINT_PACKETRECIEVEERR</code> on communication error
 */
uint8_t AS608_DeleteModel(uint16_t id)
{
	SEND_CMD_PACKET(FINGERPRINT_DELETE, (uint8_t)(id >> 8), (uint8_t)(id & 0xFF), 0x00, 0x01);

}

/**
	@brief Ask the sensor to search the current slot 1 fingerprint features to
	match saved templates. The matching location is stored in <b>fingerID</b> and
	the matching confidence in <b>confidence</b>
	@return <code>FINGERPRINT_OK</code> on fingerprint match success
	@return <code>FINGERPRINT_NOTFOUND</code> no match made
	@return <code>FINGERPRINT_PACKETRECIEVEERR</code> on communication error
 */
uint8_t AS608_FingerFastSearch(int *ptr)
{
	GET_CMD_PACKET(FINGERPRINT_HISPEEDSEARCH, 0x01, 0x00, 0x00, 0x00, 0xA3);
	*ptr=packet.data[2];                                                                  //it store the template id into the arraypointer
	return packet.data[0];
}

void HAL_UART_TxCpltCallback(UART_HandleTypeDef *huart)
{
	txCplt = SET;
}

void HAL_UART_RxCpltCallback(UART_HandleTypeDef *huart)
{
	if(huart->Instance == USART1)
	{
		printf("%c",Rxbuff);

		HAL_UART_Receive_IT(&huart1, (uint8_t *)&Rxbuff, sizeof(Rxbuff));              //, HAL_MAX_DELAY);//(&huart1,(uint8_t *)&Rxbuff,1);
		rxPacketBuffer[RxbuffCntr++] = Rxbuff;
		if(RxbuffCntr >= 12)
		{
			RxCplt = SET;
		}
	}
	else if(huart->Instance==USART2)
	{
		HAL_UART_Receive_IT(&huart2, (uint8_t *)&Rxbuff, sizeof(Rxbuff));

		// Check for specific condition to call enroll() for UART2
		if (Rxbuff == 'A')
		{
			keypressed = 'A';
			//InputFinger();
		}
		else if (Rxbuff == 'B'){
			keypressed = 'B';
			//FindFingerprint();
		}
		else if (Rxbuff == 'C'){
			keypressed = 'C';
			//DeleteFinger();
		}
		else if (Rxbuff == 'D'){
			keypressed = 'D';
			//AS608_EmptyDatabase();
		}
	}
}

void HAL_GPIO_EXTI_Callback(uint16_t GPIO_Pin)
{
	currentMillis = HAL_GetTick();
	if (currentMillis - previousMillis > 1000) {
		/*Configure GPIO pins : PB6 PB7 PB8 PB9 to GPIO_INPUT*/
		GPIO_InitStructPrivate.Pin = GPIO_PIN_6|GPIO_PIN_7|GPIO_PIN_8|GPIO_PIN_9;
		GPIO_InitStructPrivate.Mode = GPIO_MODE_INPUT;
		GPIO_InitStructPrivate.Pull = GPIO_NOPULL;
		GPIO_InitStructPrivate.Speed = GPIO_SPEED_FREQ_LOW;
		HAL_GPIO_Init(GPIOB, &GPIO_InitStructPrivate);

		HAL_GPIO_WritePin(GPIOA, GPIO_PIN_15, 1);
		HAL_GPIO_WritePin(GPIOB, GPIO_PIN_3, 0);
		HAL_GPIO_WritePin(GPIOB, GPIO_PIN_4, 0);
		HAL_GPIO_WritePin(GPIOB, GPIO_PIN_5, 0);
		if(GPIO_Pin == GPIO_PIN_6 && HAL_GPIO_ReadPin(GPIOB, GPIO_PIN_6))
		{
			keyPressed = 49; //ASCII value of D
		}
		else if(GPIO_Pin == GPIO_PIN_7 && HAL_GPIO_ReadPin(GPIOB, GPIO_PIN_7))
		{
			keyPressed = 50; //ASCII value of C
		}
		else if(GPIO_Pin == GPIO_PIN_8 && HAL_GPIO_ReadPin(GPIOB, GPIO_PIN_8))
		{
			keyPressed = 51; //ASCII value of B
		}
		else if(GPIO_Pin == GPIO_PIN_9 && HAL_GPIO_ReadPin(GPIOB, GPIO_PIN_9))
		{
			keyPressed = 65; //ASCII value of A
		}

		HAL_GPIO_WritePin(GPIOA, GPIO_PIN_15, 0);
		HAL_GPIO_WritePin(GPIOB, GPIO_PIN_3, 1);
		HAL_GPIO_WritePin(GPIOB, GPIO_PIN_4, 0);
		HAL_GPIO_WritePin(GPIOB, GPIO_PIN_5, 0);
		if(GPIO_Pin == GPIO_PIN_6 && HAL_GPIO_ReadPin(GPIOB, GPIO_PIN_6))
		{
			keyPressed = 52; //ASCII value of #
		}
		else if(GPIO_Pin == GPIO_PIN_7 && HAL_GPIO_ReadPin(GPIOB, GPIO_PIN_7))
		{
			keyPressed = 53; //ASCII value of 9
		}
		else if(GPIO_Pin == GPIO_PIN_8 && HAL_GPIO_ReadPin(GPIOB, GPIO_PIN_8))
		{
			keyPressed = 54; //ASCII value of 6
		}
		else if(GPIO_Pin == GPIO_PIN_9 && HAL_GPIO_ReadPin(GPIOB, GPIO_PIN_9))
		{
			keyPressed = 66; //ASCII value of 3
		}

		HAL_GPIO_WritePin(GPIOA, GPIO_PIN_15, 0);
		HAL_GPIO_WritePin(GPIOB, GPIO_PIN_3, 0);
		HAL_GPIO_WritePin(GPIOB, GPIO_PIN_4, 1);
		HAL_GPIO_WritePin(GPIOB, GPIO_PIN_5, 0);
		if(GPIO_Pin == GPIO_PIN_6 && HAL_GPIO_ReadPin(GPIOB, GPIO_PIN_6))
		{
			keyPressed = 55; //ASCII value of 0
		}
		else if(GPIO_Pin == GPIO_PIN_7 && HAL_GPIO_ReadPin(GPIOB, GPIO_PIN_7))
		{
			keyPressed = 56; //ASCII value of 8
		}
		else if(GPIO_Pin == GPIO_PIN_8 && HAL_GPIO_ReadPin(GPIOB, GPIO_PIN_8))
		{
			keyPressed = 57; //ASCII value of 5
		}
		else if(GPIO_Pin == GPIO_PIN_9 && HAL_GPIO_ReadPin(GPIOB, GPIO_PIN_9))
		{
			keyPressed = 67; //ASCII value of 2
		}

		HAL_GPIO_WritePin(GPIOA, GPIO_PIN_15, 0);
		HAL_GPIO_WritePin(GPIOB, GPIO_PIN_3, 0);
		HAL_GPIO_WritePin(GPIOB, GPIO_PIN_4, 0);
		HAL_GPIO_WritePin(GPIOB, GPIO_PIN_5, 1);
		if(GPIO_Pin == GPIO_PIN_6 && HAL_GPIO_ReadPin(GPIOB, GPIO_PIN_6))
		{
			keyPressed = 42; //ASCII value of *
		}
		else if(GPIO_Pin == GPIO_PIN_7 && HAL_GPIO_ReadPin(GPIOB, GPIO_PIN_7))
		{
			keyPressed = 48; //ASCII value of 7
		}
		else if(GPIO_Pin == GPIO_PIN_8 && HAL_GPIO_ReadPin(GPIOB, GPIO_PIN_8))
		{
			keyPressed = 35; //ASCII value of 4
		}
		else if(GPIO_Pin == GPIO_PIN_9 && HAL_GPIO_ReadPin(GPIOB, GPIO_PIN_9))
		{
			keyPressed = 68; //ASCII value of 1
		}

		HAL_GPIO_WritePin(GPIOA, GPIO_PIN_15, 1);
		HAL_GPIO_WritePin(GPIOB, GPIO_PIN_3, 1);
		HAL_GPIO_WritePin(GPIOB, GPIO_PIN_4, 1);
		HAL_GPIO_WritePin(GPIOB, GPIO_PIN_5, 1);
		/*Configure GPIO pins : PB6 PB7 PB8 PB9 back to EXTI*/
		GPIO_InitStructPrivate.Mode = GPIO_MODE_IT_RISING;
		GPIO_InitStructPrivate.Pull = GPIO_PULLDOWN;
		HAL_GPIO_Init(GPIOB, &GPIO_InitStructPrivate);
		previousMillis = currentMillis;
	}
}

void send_to_lcd (char data, int rs)
{
	HAL_GPIO_WritePin(RS_GPIO_Port, RS_Pin, rs);  // rs = 1 for data, rs=0 for command

	/* write the data to the respective pin */
	HAL_GPIO_WritePin(D7_GPIO_Port, D7_Pin, ((data>>3)&0x01));
	HAL_GPIO_WritePin(D6_GPIO_Port, D6_Pin, ((data>>2)&0x01));
	HAL_GPIO_WritePin(D5_GPIO_Port, D5_Pin, ((data>>1)&0x01));
	HAL_GPIO_WritePin(D4_GPIO_Port, D4_Pin, ((data>>0)&0x01));

	/* Toggle EN PIN to send the data
	 * if the HCLK > 100 MHz, use the  20 us delay
	 * if the LCD still doesn't work, increase the delay to 50, 80 or 100..
	 */
	delay (100);
	HAL_GPIO_WritePin(EN_GPIO_Port, EN_Pin, 1);
	delay (100);
	HAL_GPIO_WritePin(EN_GPIO_Port, EN_Pin, 0);
}

void lcd_send_cmd (char cmd)
{
	char datatosend;
	/*send upper nibble first */
	datatosend = ((cmd>>4)&0x0f);
	send_to_lcd(datatosend,0);  // RS must be 0 while sending command

	/* send Lower Nibble */
	datatosend = ((cmd)&0x0f);
	send_to_lcd(datatosend, 0);
}

void lcd_send_data (char data)
{
	char datatosend;
	/* send higher nibble */
	datatosend = ((data>>4)&0x0f);
	send_to_lcd(datatosend, 1);  // rs =1 for sending data
	/* send Lower nibble */
	datatosend = ((data)&0x0f);
	send_to_lcd(datatosend, 1);
}

void lcd_clear (void)
{
	lcd_send_cmd(0x01);
	HAL_Delay(2);
}

void lcd_put_cur(int row, int col)
{
	switch (row)
	{
	case 0:
		col |= 0x80;
		break;
	case 1:
		col |= 0xC0;
		break;
	}
	lcd_send_cmd (col);
}

void lcd_init (void)
{
	// 4 bit initialisation
	HAL_Delay(50); 																				// wait for >40ms
	lcd_send_cmd (0x30); 																		//command for 4 bit initialization.
	HAL_Delay(5);  																				// wait for >4.1ms
	lcd_send_cmd (0x30); 																		//command for 4 bit initialization.
	HAL_Delay(1);  																				// wait for >100us
	lcd_send_cmd (0x30);																	    //command for 4 bit initialization.
	HAL_Delay(10);
	lcd_send_cmd (0x20);  // 4bit mode
	HAL_Delay(10);

	// dislay initialisation
	// Function set --> DL=0 (4 bit mode), N = 1 (2 line display) F = 0 (5x8 characters)
	lcd_send_cmd (0x28);
	HAL_Delay(1);
	lcd_send_cmd (0x08);                                                                      //Display on/off control --> D=0,C=0, B=0  ---> display off
	HAL_Delay(1);
	lcd_send_cmd (0x01);                                                                      // clear display
	HAL_Delay(1);
	HAL_Delay(1);
	lcd_send_cmd (0x06);                                                                    //Entry mode set --> I/D = 1 (increment cursor) & S = 0 (no shift)
	HAL_Delay(1);
	//Display on/off control --> D = 1, C and B = 0. (Cursor and blink, last two bits)
	lcd_send_cmd (0x0C);
}

void lcd_send_string (char *str)
{
	while (*str) lcd_send_data (*str++);
}

void playTone(uint16_t frequency,uint16_t ms,uint8_t dc)
{
	// HAL_GPIO_TogglePin(GPIOC,GPIO_PIN_13);
	//HAL_GPIO_WritePin(GPIOC, GPIO_PIN_13, SET);
	//int duration = 1000/frequency;//calculate the duration of tone
	__HAL_TIM_SET_PRESCALER(&htim2,84000000/(frequency*frequency));//set the prescaler to generate the desired frequency.
	__HAL_TIM_SET_AUTORELOAD(&htim2,ms);//set the auto-reload value to generate the desired duration

	HAL_TIM_PWM_Start(&htim2,TIM_CHANNEL_1);
	htim2.Instance->CCR1 = dc;//vary the duty cycle
	HAL_Delay(ms);
	/**** FOR STOPPING THE BUZZER********/
	//HAL_GPIO_TogglePin(GPIOC,GPIO_PIN_13);
	// HAL_GPIO_WritePin(GPIOC, GPIO_PIN_13, RESET);
	//  HAL_TIM_PWM_Stop(&htim2,TIM_CHANNEL_1);

}

void stopTone(void)
{
	HAL_TIM_PWM_Stop(&htim2,TIM_CHANNEL_1);
}

void eraseFlashSector(uint32_t sector)
{
	// Define variables
	FLASH_EraseInitTypeDef eraseInitStruct;
	uint32_t sectorError = 0;
	HAL_StatusTypeDef status;
	HAL_FLASH_Unlock();                                                                            	// Unlock the Flash memory

	// Fill erase structure
	eraseInitStruct.TypeErase = FLASH_TYPEERASE_SECTORS;                                          // Specify sector erase operation
	eraseInitStruct.VoltageRange = FLASH_VOLTAGE_RANGE_3;                                        // Set voltage range for the erase operation
	eraseInitStruct.Sector = sector;                                                            // Specify the sector to be erased
	eraseInitStruct.NbSectors = 1;                                                             // Number of sectors to erase
	status = HAL_FLASHEx_Erase(&eraseInitStruct, &sectorError);                               // Erase the desired sector
	HAL_FLASH_Lock();                                                                      	// Lock the Flash memory

	if (status != HAL_OK)
	{
		// Handle erase error
		// ...
	}
}

/* USER CODE END 4 */

void Error_Handler(void)
{
	__disable_irq();
	while (1)
	{
	}
}
